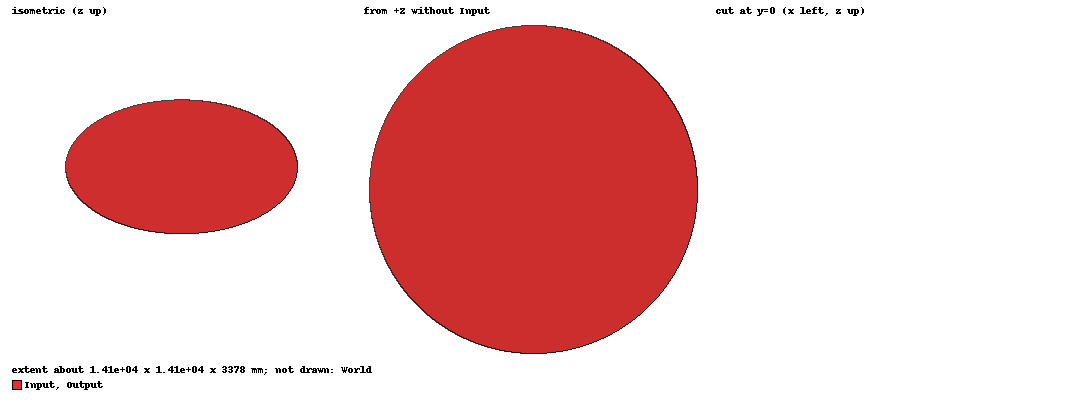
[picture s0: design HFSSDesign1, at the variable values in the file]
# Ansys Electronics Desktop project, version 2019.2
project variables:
  $spacing = 0.3175m
  $cutout = 4m
  $gap = $cutout + $spacing
  $outer = 7.0485m
  $inner = 5.7785m
  $length = 600m
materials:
  vacuum: permittivity=1
  copper: permeability=0.999991 conductivity=58000000

design HFSSDesign1 (HFSS, DrivenModal, model units mm)
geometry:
  Cutout [copper] = cylinder(axis=Z, base_centre=(0mm, 0mm, -$length/2), radius=$outer, height=$length)
  Cylinder2 = cylinder(axis=Z, base_centre=(0mm, 0mm, -$length/2), radius=$inner, height=$length)
  Cutout.subtract(Cylinder2)
  Cylinder4 = cylinder(axis=X, base_centre=(-$outer, 0mm, 0mm), radius=$gap /2, height=$outer*2)
  Box2 = box(corner=(-$outer, 0mm, -$gap/2), size=($outer*2, $outer, $gap))
  Cylinder4.unite(Box2)
  Cylinder3 = cylinder(axis=X, base_centre=(-$outer, 0mm, 0mm), radius=$cutout /2, height=$outer*2)
  Box1 = box(corner=(-$outer, 0mm, -$cutout/2), size=($outer*2, $outer, $cutout))
  Cylinder3.unite(Box1)
  Cylinder4.subtract(Cylinder3)
  Cutout.subtract(Cylinder4)
  Guide [copper] = Cutout.separate_bodies()
  VDD [copper] = Cutout.section(plane=YZ)
  World [vacuum] = cylinder(axis=Z, base_centre=(0mm, 0mm, -$length/2), radius=1000mm, height=$length)
  GND [copper] = Guide.section(plane=XY)
  Cutout_Cross [non-model] = rectangle(corner=(-15mm, -15mm, 0), x_size=30mm, y_size=30mm)
  Input = circle(normal=Z, centre=(0mm, 0mm, $length/2), radius=$outer)
  Output = circle(normal=Z, centre=(0mm, 0mm, -$length/2), radius=$outer)
  Rectangle1 [non-model] = rectangle(corner=(-15mm, 0, -$length / 2), z_size=$length, x_size=30mm)
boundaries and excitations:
  1: Wave Port Objects=Input NumModes=3 UseLineModeAlignment Modes{Mode1{IntLine{centre of Input.face -> Input.edge(1 of 1) at 0.25 along} CharImp=Zpi} Mode2{IntLine{centre of Input.face -> Input.vertex(1 of 1)} CharImp=Zpi} Mode3{CharImp=Zpi}}
  2: Wave Port Objects=Output NumModes=3 UseLineModeAlignment Modes{Mode1{IntLine{centre of Output.face -> Cutout.edge(at (-5.7785, 0, -300)) at 0.25 along} CharImp=Zpi} Mode2{IntLine{centre of Output.face -> Cutout.vertex(#18)} CharImp=Zpi} Mode3{CharImp=Zpi}}
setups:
  Setup: HfssDriven AdaptMultipleFreqs MultipleAdaptiveFreqsSetup{Broadband{Low=18GHz High=19GHz}} MaxDeltaS=0.02 MaximumPasses=6 MinimumPasses=1 MinimumConvergedPasses=1 PercentRefinement=30 BasisOrder=1 DoLambdaRefine=false PortAccuracy=2
    sweep Sweep: 18GHz to 19GHz, 500 points; Type=Discrete
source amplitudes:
  1:1: 1W 0deg
  1:2, 1:3, 2:1, 2:2, 2:3: 0W 0deg
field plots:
  Mag_E1, Mag_E2: E Field over a plane on Setup : LastAdaptive at Freq=18.5GHz Phase=0deg
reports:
  Vertical Polarization: dB(S(1:1,2:1)) vs Freq on Setup : Sweep
  Horizontal Polarization: dB(S(1:2,2:2)) vs Freq on Setup : Sweep

design Maxwell3DDesign1 (Maxwell 3D, Electrostatic, model units mm)
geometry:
  Cutout [copper] = cylinder(axis=Z, base_centre=(0mm, 0mm, -$length/2), radius=$outer, height=$length)
  Cylinder2 = cylinder(axis=Z, base_centre=(0mm, 0mm, -$length/2), radius=$inner, height=$length)
  Cutout.subtract(Cylinder2)
  Box1 = box(corner=(-$outer, 0mm, -$cutout/2), size=($outer*2, $outer, $cutout))
  Cylinder3 = cylinder(axis=X, base_centre=(-$outer, 0mm, 0mm), radius=$cutout /2, height=$outer*2)
  Cylinder3.unite(Box1)
  Cylinder4 = cylinder(axis=X, base_centre=(-$outer, 0mm, 0mm), radius=$gap /2, height=$outer*2)
  Box2 = box(corner=(-$outer, 0mm, -$gap/2), size=($outer*2, $outer, $gap))
  Cylinder4.unite(Box2)
  Cylinder4.subtract(Cylinder3)
  Cutout.subtract(Cylinder4)
  World [vacuum] = cylinder(axis=Z, base_centre=(0mm, 0mm, -$length/2), radius=$outer + 1mm, height=$length)
  Guide [copper] = Cutout.separate_bodies()
  GND [copper] = Guide.section(plane=XY)
  VDD [copper] = Cutout.section(plane=YZ)
  Cutout_Cross [non-model] = rectangle(corner=(-15mm, -15mm, 0), x_size=30mm, y_size=30mm)
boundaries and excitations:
  Sweep: Voltage Objects=VDD Voltage=1000V
  Ground: Voltage Objects=GND Voltage=0mV
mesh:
  initial mesh: GlobalCurvilinear{Apply}
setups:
  E_Field: Electrostatic MaximumPasses=20 MinimumPasses=2 MinimumConvergedPasses=2 PercentRefinement=30 PercentError=1 NonLinearResidual=0.001
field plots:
  Mag_E1: E over a plane on E_Field : LastAdaptive
  E_Vector1: E in World on E_Field : LastAdaptive
